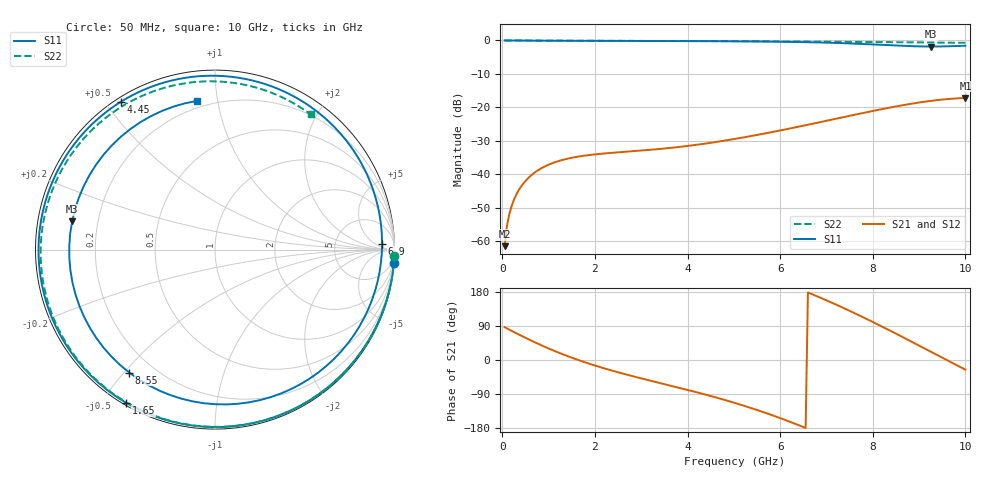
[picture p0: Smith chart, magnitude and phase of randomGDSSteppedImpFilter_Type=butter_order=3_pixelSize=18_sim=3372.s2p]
! freq	dB(S11)	phase(S11)	dB(S12)	phase(S12)
!  dB(S21)	phase(S21)	dB(S22)	phase(S22)
!S-par simulation data
#  GHz  S  DB  R 50
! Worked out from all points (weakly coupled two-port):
!   200 points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, 50 MHz to 10 GHz, reference 50 ohm
!   highest |S21| = -17.20 dB at 10 GHz (marker M1); lowest = -61.5 dB at 50 MHz (marker M2)
!   lowest |S11| = -1.8 dB at 9.25 GHz (marker M3), VSWR 9.61, Z = 5.25 + j4.87 ohm
!   |S11| at or under -10 dB: nowhere
!   |S22| runs from -0.7 to 0.0 dB; largest |S21 - S12| = 0
!   S11 on the Smith chart (normalised r, x): 50 MHz: 0, -26; 1.65 GHz: 0.01, -0.58; 4.45 GHz: 0.02, +0.55; 6.9 GHz: 23, +11; 8.55 GHz: 0.11, -0.52; 10 GHz: 0.16, +0.87
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0.05  -0.00 -4.4  -61.54 86.7  -61.54 86.7  -0.00 -2.0
0.1  -0.01 -8.8  -55.54 83.4  -55.54 83.4  -0.00 -4.1
0.2  -0.03 -17.4  -49.60 77.0  -49.60 77.0  -0.01 -8.1
0.45  -0.06 -38.4  -42.88 61.6  -42.88 61.6  -0.03 -18.1
1  -0.09 -80.2  -37.16 30.4  -37.16 30.4  -0.05 -39.7
1.65  -0.12 -120.1  -34.72 -0.5  -34.72 -0.5  -0.08 -63.9
1.75  -0.12 -125.5  -34.51 -4.7  -34.51 -4.7  -0.08 -67.5
2.55  -0.14 -163.1  -33.42 -34.1  -33.42 -34.1  -0.11 -94.7
3.4  -0.16 162.9  -32.46 -60.6  -32.46 -60.6  -0.14 -121.0
4.45  -0.21 122.4  -30.72 -93.3  -30.72 -93.3  -0.19 -150.5
5.05  -0.26 97.7  -29.39 -114.4  -29.39 -114.4  -0.22 -166.5
5.9  -0.37 58.4  -27.21 -148.8  -27.21 -148.8  -0.27 171.3
6.7  -0.55 14.4  -24.92 173.1  -24.92 173.1  -0.34 150.3
6.9  -0.62 2.0  -24.33 162.7  -24.33 162.7  -0.36 145.0
7.3  -0.78 -24.6  -23.14 141.1  -23.14 141.1  -0.39 134.2
7.75  -1.03 -57.7  -21.82 115.3  -21.82 115.3  -0.44 121.7
8.35  -1.43 -107.1  -20.13 79.0  -20.13 79.0  -0.50 104.7
8.55  -1.56 -124.9  -19.61 66.5  -19.61 66.5  -0.53 98.9
8.9  -1.74 -157.4  -18.78 44.4  -18.78 44.4  -0.57 88.5
9.25  -1.81 168.7  -18.08 22.0  -18.08 22.0  -0.61 77.9
9.65  -1.74 129.8  -17.49 -3.5  -17.49 -3.5  -0.66 65.6
10  -1.57 97.0  -17.20 -25.5  -17.20 -25.5  -0.70 54.7
